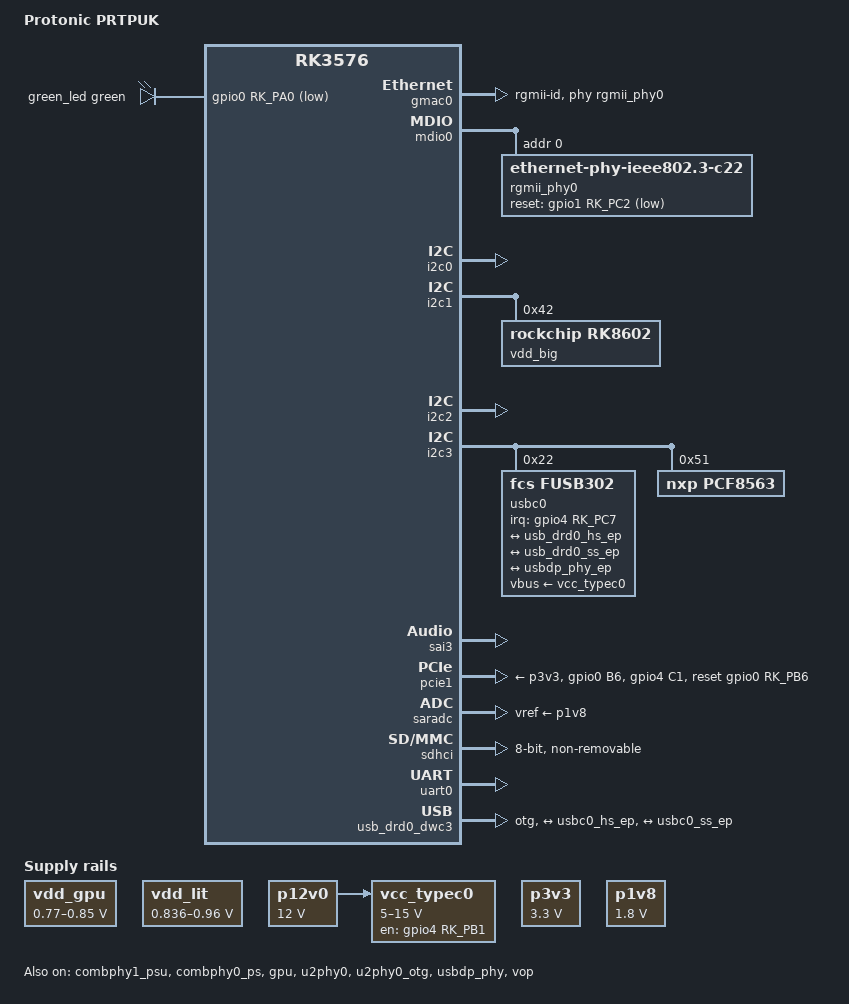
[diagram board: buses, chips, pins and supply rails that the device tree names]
// SPDX-License-Identifier: (GPL-2.0+ OR MIT)

/dts-v1/;

#include <dt-bindings/gpio/gpio.h>
#include <dt-bindings/leds/common.h>
#include <dt-bindings/pinctrl/rockchip.h>
#include <dt-bindings/soc/rockchip,vop2.h>
#include <dt-bindings/usb/pd.h>
#include <dt-bindings/pwm/pwm.h>
#include <arm64/rockchip/rk3576.dtsi>

/ {
	model = "Protonic PRTPUK";
	compatible = "prt,prtpuk", "rockchip,rk3576";

	aliases {
		ethernet0 = &gmac0;
	};

	chosen: chosen {
		stdout-path = "serial0:1500000n8";
	};

/* PWM support still missing for RK3576, pwm version 4
	vdd_gpu: regulator-vdd-gpu {
		compatible = "pwm-regulator";
		pwms = <&pwm2 0 5000 PWM_POLARITY_INVERTED>;
		pinctrl-names = "default";
		pinctrl = <&pwm2m0_pins>;
		regulator-name = "vdd_gpu";
		regulator-min-microvolt = <770000>;
		regulator-max-microvolt = <850000>;
		regulator-always-on;
		regulator-boot-on;
		regulator-settling-time-up-us = <250>;
		pwm-dutycycle-range = <0 100>; /* dutycycle inverted 0% => 0.915V * /
	};

	vdd_lit: regulator-vdd-lit {
		compatible = "pwm-regulator";
		pwms = <&pwm1 3 5000 PWM_POLARITY_INVERTED>;
		pinctrl-names = "default";
		pinctrl = <&pwm1m0_pins>;
		regulator-name = "vdd_lit";
		regulator-min-microvolt = <836000>;
		regulator-max-microvolt = <960000>;
		regulator-always-on;
		regulator-boot-on;
		regulator-settling-time-up-us = <250>;
		pwm-dutycycle-range = <0 100>; /* dutycycle inverted 0% => 0.915V * /
	};
*/
	vdd_gpu: regulator-vdd-gpu {
		compatible = "regulator-gpio";
		gpios = <&gpio0 RK_PD3 GPIO_ACTIVE_HIGH>;
		states = <850000 0x0>,
			 <770000 0x1>;
		regulator-name = "vdd_gpu";
		regulator-min-microvolt = <770000>;
		regulator-max-microvolt = <850000>;
		regulator-always-on;
		regulator-boot-on;
		regulator-settling-time-up-us = <250>;
	};

	vdd_lit: regulator-vdd-lit {
		compatible = "regulator-gpio";
		gpios = <&gpio0 RK_PC0 GPIO_ACTIVE_HIGH>;
		states = <960000 0x0>,
			 <836000 0x1>;
		regulator-name = "vdd_lit";
		regulator-min-microvolt = <836000>;
		regulator-max-microvolt = <960000>;
		regulator-always-on;
		regulator-boot-on;
		regulator-settling-time-up-us = <250>;
	};

	p12v0: p12v0-regulator {
		compatible = "regulator-fixed";
		regulator-name = "p12v0";
		regulator-always-on;
		regulator-boot-on;
		regulator-min-microvolt = <12000000>;
		regulator-max-microvolt = <12000000>;
	};

	p3v3: p3v3-regulator {
		compatible = "regulator-fixed";
		regulator-name = "p3v3";
		regulator-always-on;
		regulator-boot-on;
		regulator-min-microvolt = <3300000>;
		regulator-max-microvolt = <3300000>;
	};

	p1v8: p1v8-regulator {
		compatible = "regulator-fixed";
		regulator-name = "p1v8";
		regulator-always-on;
		regulator-boot-on;
		regulator-min-microvolt = <1800000>;
		regulator-max-microvolt = <1800000>;
	};

	vcc_typec0: regulator-vcc-typec0 {
		compatible = "regulator-gpio";
		enable-active-high;
		enable-gpios = <&gpio4 RK_PB1 GPIO_ACTIVE_HIGH>;
		gpios = <&gpio4 RK_PB2 GPIO_ACTIVE_HIGH>;
		states = <5000000 0x0>,
			 <15000000 0x1>;
		regulator-name = "vcc_typec0";
		regulator-min-microvolt = <5000000>;
		regulator-max-microvolt = <15000000>;
		vin-supply = <&p12v0>;
	};

	leds: leds {
		compatible = "gpio-leds";

		green_led: green-led {
			color = <LED_COLOR_ID_GREEN>;
			function = LED_FUNCTION_HEARTBEAT;
			gpios = <&gpio0 RK_PA0 GPIO_ACTIVE_LOW>;
			linux,default-trigger = "heartbeat";
		};
	};
};

&combphy1_psu {
	status = "okay";
};

&combphy0_ps {
	status = "okay";
};

&cpu_b0 {
	cpu-supply = <&vdd_big>;
};

&cpu_b1 {
	cpu-supply = <&vdd_big>;
};

&cpu_b2 {
	cpu-supply = <&vdd_big>;
};

&cpu_b3 {
	cpu-supply = <&vdd_big>;
};

&cpu_l0 {
	cpu-supply = <&vdd_lit>;
};

&cpu_l1 {
	cpu-supply = <&vdd_lit>;
};

&cpu_l2 {
	cpu-supply = <&vdd_lit>;
};

&cpu_l3 {
	cpu-supply = <&vdd_lit>;
};

&gmac0 {
	phy-mode = "rgmii-id";
	clock_in_out = "output";
	phy-handle = <&rgmii_phy0>;
	pinctrl-names = "default";
	pinctrl-0 = <&eth0m0_miim
		     &eth0m0_tx_bus2
		     &eth0m0_rx_bus2
		     &eth0m0_rgmii_clk
		     &eth0m0_rgmii_bus>;
	status = "okay";
};

&mdio0 {
	rgmii_phy0: phy@0 {
		compatible = "ethernet-phy-ieee802.3-c22";
		reg = <0x0>;
		clocks = <&cru REFCLKO25M_GMAC0_OUT>;
		pinctrl-names = "default";
		pinctrl-0 = <&eth_phy0_rst>;
		reset-assert-us = <20000>;
		reset-deassert-us = <100000>;
		reset-gpios = <&gpio1 RK_PC2 GPIO_ACTIVE_LOW>;
	};
};

&gpu {
	mali-supply = <&vdd_gpu>;
	status = "okay";
};

&i2c0 {
	pinctrl-names = "default";
	pinctrl-0 = <&i2c0m1_xfer>;
	status = "okay";
};

&i2c1 {
	pinctrl-names = "default";
	pinctrl-0 = <&i2c1m1_xfer>;
	status = "okay";

	vdd_big: regulator@42 {
		compatible = "rockchip,rk8602";
		reg = <0x42>;
		fcs,suspend-voltage-selector = <1>;
		regulator-name = "vdd_big";
		regulator-always-on;
		regulator-boot-on;
		regulator-min-microvolt = <750000>;
		regulator-max-microvolt = <1000000>;
		regulator-ramp-delay = <2300>;

		regulator-state-mem {
			regulator-off-in-suspend;
		};
	};
};

&i2c2 {
	pinctrl-names = "default";
	pinctrl-0 = <&i2c2m3_xfer>;
	status = "okay";
};

&i2c3 {
	pinctrl-names = "default";
	pinctrl-0 = <&i2c3m3_xfer>;
	status = "okay";

	usbc0: typec-portc@22 {
		compatible = "fcs,fusb302";
		reg = <0x22>;
		interrupt-parent = <&gpio4>;
		interrupts = <RK_PC7 IRQ_TYPE_LEVEL_LOW>;
		pinctrl-names = "default";
		pinctrl-0 = <&usbc0_interrupt>;
		vbus-supply = <&vcc_typec0>;

		connector {
			compatible = "usb-c-connector";
			label = "USB-C";
			data-role = "dual";
			/* fusb302 supports PD Rev 2.0 Ver 1.2 */
			pd-revision = /bits/ 8 <0x2 0x0 0x1 0x2>;
			power-role = "source";
			source-pdos = <PDO_FIXED(5000, 1500,
						 PDO_FIXED_USB_COMM | PDO_FIXED_DATA_SWAP)>,
				      <PDO_FIXED(15000, 1000,
						 PDO_FIXED_USB_COMM | PDO_FIXED_DATA_SWAP)>;

			altmodes {
				displayport {
					svid = /bits/ 16 <0xff01>;
					vdo = <0xffffffff>;
				};
			};

			ports {
				#address-cells = <1>;
				#size-cells = <0>;

				port@0 {
					reg = <0>;
					usbc0_hs_ep: endpoint {
						remote-endpoint = <&usb_drd0_hs_ep>;
					};
				};
				port@1 {
					reg = <1>;
					usbc0_ss_ep: endpoint {
						remote-endpoint = <&usb_drd0_ss_ep>;
					};
				};
				port@2 {
					reg = <2>;
					usbc0_dp_ep: endpoint {
						remote-endpoint = <&usbdp_phy_ep>;
					};
				};
			};
		};
	};

	pcf8563: rtc@51 {
		compatible = "nxp,pcf8563";
		reg = <0x51>;
		#clock-cells = <0>;
		clock-output-names = "rtcic_32kout";
	};
};

&sai3 {
	pinctrl-names = "default";
	pinctrl-0 = <&sai3m1_lrck
		     &sai3m1_sclk
		     &sai3m1_sdi
		     &sai3m1_sdo>;
	rockchip,trcm-sync-tx-only;
	status = "okay";
};

&pcie1 {
	pinctrl-names = "default";
	pinctrl-0 = <&pcie_reset>;
	reset-gpios = <&gpio0 RK_PB6 GPIO_ACTIVE_HIGH>;
	vpcie3v3-supply = <&p3v3>;
	status = "okay";
};

&pinctrl {
	ethernet {
		eth_phy0_rst: eth_phy0_rst {
			rockchip,pins = <1 RK_PC2 RK_FUNC_GPIO &pcfg_pull_none>;
		};
	};

	pcie {
		pcie_reset: pcie-reset {
			rockchip,pins = <0 RK_PB6 RK_FUNC_GPIO &pcfg_pull_none>,
				/* pcie1_clkreqnm3 */
				<4 RK_PC1 5 &pcfg_pull_none>;
		};
	};

	usb {
		usbc0_interrupt: usbc0-interrupt {
			rockchip,pins = <4 RK_PC7 RK_FUNC_GPIO &pcfg_pull_up>;
		};
		usbc0_sbu1: usbc0-sbu1 {
			rockchip,pins = <2 RK_PA6 RK_FUNC_GPIO &pcfg_pull_down>;
		};
		usbc0_sbu2: usbc0-sbu2 {
			rockchip,pins = <2 RK_PA7 RK_FUNC_GPIO &pcfg_pull_down>;
		};
	};
};

&saradc {
	vref-supply = <&p1v8>;
	status = "okay";
};

&sdhci {
	bus-width = <8>;
	full-pwr-cycle-in-suspend;
	max-frequency = <200000000>;
	mmc-hs400-1_8v;
	mmc-hs400-enhanced-strobe;
	no-sdio;
	no-sd;
	non-removable;
	status = "okay";
};

&u2phy0 {
	status = "okay";
};

&u2phy0_otg {
	status = "okay";
};

/*
&u2phy1 {
	status = "okay";
};

&u2phy1_otg {
	phy-supply = <&vcc_5v0_usbhost>;
	status = "okay";
};
*/

&uart0 {
	pinctrl-0 = <&uart0m0_xfer>;
	status = "okay";
};

&usb_drd0_dwc3 {
	usb-role-switch;
	dr_mode = "otg";
	status = "okay";

	ports {
		#address-cells = <1>;
		#size-cells = <0>;

		port@0 {
			reg = <0>;
			usb_drd0_hs_ep: endpoint {
				remote-endpoint = <&usbc0_hs_ep>;
			};
		};

		port@1 {
			reg = <1>;
			usb_drd0_ss_ep: endpoint {
				remote-endpoint = <&usbc0_ss_ep>;
			};
		};
	};
};

/*
&usb_drd1_dwc3 {
	dr_mode = "host";
	status = "okay";
};
*/

&usbdp_phy {
	mode-switch;
	orientation-switch;
	pinctrl-names = "default";
	pinctrl-0 = <&usbc0_sbu1 &usbc0_sbu2>;
	sbu1-dc-gpios = <&gpio2 RK_PA6 GPIO_ACTIVE_HIGH>;
	sbu2-dc-gpios = <&gpio2 RK_PA7 GPIO_ACTIVE_HIGH>;
	status = "okay";

	port {
		usbdp_phy_ep: endpoint {
			remote-endpoint = <&usbc0_dp_ep>;
		};
	};
};

&vop {
	status = "okay";
};

&vop_mmu {
	status = "okay";
};

&vp0 {
	vp0_out_dsi1: endpoint@ROCKCHIP_VOP2_EP_DP0 {
		reg = <ROCKCHIP_VOP2_EP_DP0>;
		/* remote-endpoint = <...>; ?? */
	};
};

/*
&pwm1 {
	status = "okay";
};

&pwm2 {
	status = "okay";
};
*/
